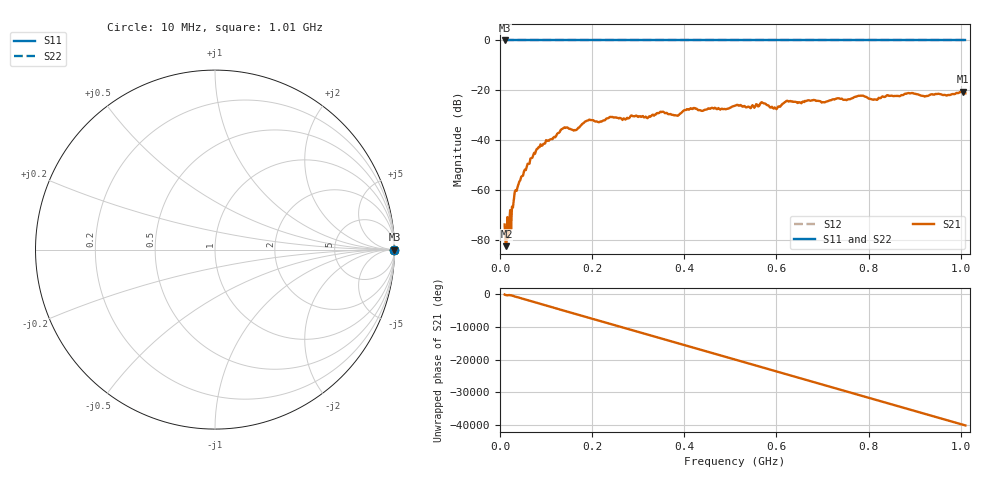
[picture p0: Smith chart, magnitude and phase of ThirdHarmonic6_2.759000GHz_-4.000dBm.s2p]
! 8/17/2025 6:56:54 AM
! C:\ANRITSUVNA\TEMP\TEMP.S2P
! CHANNEL.1
! TR.MEASUREMENT
! RAW.DATA
! RF.CORRECTION.OFF
! AVERAGING.OFF
! IF.BANDWIDTH: 5KHZ
! SWEEPTYPE:  FREQ.SWEEP(Linear)
! Reference Plane Port Info
! PORT:  PORT1  PORT2
! DISTANCE:  0  m  0  m
! TIME:  0  s  0  s
! PHASE.OFFSET:  0  deg.  0  deg.
! LOSS:  0  dB  0  dB
! REF.LOSS:  0  dB  0  dB
! REF.FREQ:  0  Hz  0  Hz
! Power Info
! POWER:  -20  dBm  -20  dBm
! EFF.POWER:  -20  dBm  -20  dBm
! SOURCE.ATTEN:  0  dB  0  dB
! TEST.ATTEN:  0  dB  0  dB
# GHZ S RI R 50.0
! FREQ.GHZ  S11RE  S11IM  S21RE  S21IM  S12RE  S12IM  S22RE  S22IM
!; PortSelection: Port_12
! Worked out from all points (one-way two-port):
!   501 points, 10 MHz to 1.01 GHz, reference 50 ohm
!   highest |S21| = -20.62 dB at 1.004 GHz (marker M1); lowest = -82.7 dB at 14 MHz (marker M2)
!   lowest |S11| = 0.0 dB at 10 MHz (marker M3)
!   |S11| at or under -10 dB: nowhere
!   |S22| runs from 0.0 to 0.0 dB; largest |S21 - S12| = 1.1
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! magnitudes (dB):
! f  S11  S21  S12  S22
! 10 MHz  0.0  -74.0  0.0  0.0
! 14 MHz  0.0  -82.7  0.0  0.0
! 22 MHz  0.0  -68.2  0.0  0.0
! 30 MHz  0.0  -64.0  0.0  0.0
! 36 MHz  0.0  -60.5  0.0  0.0
! 78 MHz  0.0  -44.3  0.0  0.0
! 136 MHz  0.0  -35.5  0.0  0.0
! 162 MHz  0.0  -36.0  0.0  0.0
! 178 MHz  0.0  -33.7  0.0  0.0
! 344 MHz  0.0  -29.3  0.0  0.0
! 384 MHz  0.0  -30.2  0.0  0.0
! 418 MHz  0.0  -27.5  0.0  0.0
! 510 MHz  0.0  -26.3  0.0  0.0
! 570 MHz  0.0  -25.0  0.0  0.0
! 598 MHz  0.0  -27.3  0.0  0.0
! 622 MHz  0.0  -24.2  0.0  0.0
! 678 MHz  0.0  -24.0  0.0  0.0
! 784 MHz  0.0  -22.2  0.0  0.0
! 814 MHz  0.0  -23.7  0.0  0.0
! 844 MHz  0.0  -22.2  0.0  0.0
! 1.004 GHz  0.0  -20.6  0.0  0.0
! 1.01 GHz  0.0  -21.3  0.0  0.0
